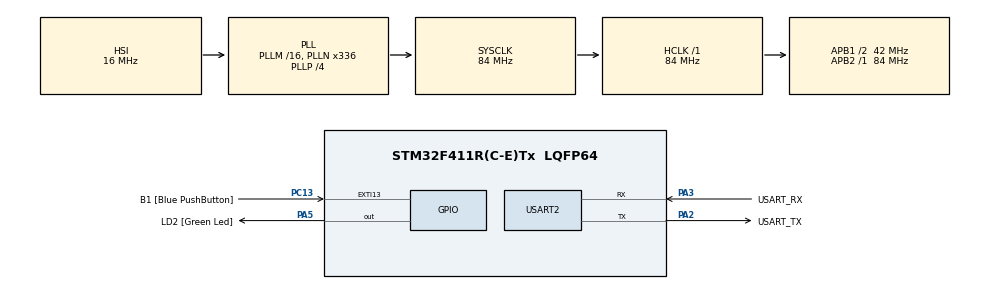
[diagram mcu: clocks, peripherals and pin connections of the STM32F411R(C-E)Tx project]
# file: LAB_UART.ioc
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Mcu.Family=STM32F4
PC15-OSC32_OUT.Mode=LSE-External-Oscillator
RCC.CortexFreq_Value=84000000
PC13-ANTI_TAMP.GPIO_Label=B1 [Blue PushButton]
PA14.GPIO_Label=TCK
PH1\ -\ OSC_OUT.Mode=HSE-External-Clock-Source
RCC.APB1CLKDivider=RCC_HCLK_DIV2
PC14-OSC32_IN.Signal=RCC_OSC32_IN
NVIC.USART2_IRQn=true\:0\:0\:false\:false\:true\:true\:true
RCC.SYSCLKSource=RCC_SYSCLKSOURCE_PLLCLK
ProjectManager.StackSize=0x400
PA13.Signal=SYS_JTMS-SWDIO
PA3.Mode=Asynchronous
PH0\ -\ OSC_IN.Mode=HSE-External-Clock-Source
PH0\ -\ OSC_IN.Signal=RCC_OSC_IN
ProjectManager.TargetToolchain=STM32CubeIDE
RCC.HCLKFreq_Value=84000000
RCC.APB2TimFreq_Value=84000000
PC15-OSC32_OUT.Signal=RCC_OSC32_OUT
RCC.AHBFreq_Value=84000000
PA5.Signal=GPIO_Output
RCC.HSE_VALUE=8000000
PH1\ -\ OSC_OUT.Signal=RCC_OSC_OUT
board=NUCLEO-F411RE
PC13-ANTI_TAMP.Signal=GPXTI13
RCC.VCOOutputFreq_Value=336000000
RCC.APB2Freq_Value=84000000
PC14-OSC32_IN.Mode=LSE-External-Oscillator
PA14.Mode=Serial_Wire
PA13.Mode=Serial_Wire
Mcu.Name=STM32F411R(C-E)Tx
PA2.Signal=USART2_TX
PA13.GPIO_Label=TMS
RCC.FLatency-AdvancedSettings=FLASH_LATENCY_2
RCC.48MHZClocksFreq_Value=84000000
PB3.Signal=SYS_JTDO-SWO
RCC.SYSCLKFreq_VALUE=84000000
Mcu.Package=LQFP64
PA5.GPIO_Label=LD2 [Green Led]
USART2.VirtualMode=VM_ASYNC
PC13-ANTI_TAMP.GPIO_ModeDefaultEXTI=GPIO_MODE_IT_FALLING
PA2.GPIO_Label=USART_TX
PA14.Signal=SYS_JTCK-SWCLK
ProjectManager.HeapSize=0x200
RCC.HSI_VALUE=16000000
RCC.PLLP=RCC_PLLP_DIV4
NVIC.PriorityGroup=NVIC_PRIORITYGROUP_0
RCC.PLLN=336
RCC.APB1TimFreq_Value=84000000
PA2.Mode=Asynchronous
RCC.APB1Freq_Value=42000000
PA3.GPIO_Label=USART_RX
PA3.Signal=USART2_RX
PB3.GPIO_Label=SWO

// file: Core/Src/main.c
/* USER CODE BEGIN Header */
/**
  ******************************************************************************
  * @file           : main.c
  * @brief          : Main program body
  ******************************************************************************
  * @attention
  *
  * <h2><center>&copy; Copyright (c) 2021 STMicroelectronics.
  * All rights reserved.</center></h2>
  *
  * This software component is licensed by ST under BSD 3-Clause license,
  * the "License"; You may not use this file except in compliance with the
  * License. You may obtain a copy of the License at:
  *                        opensource.org/licenses/BSD-3-Clause
  *
  ******************************************************************************
  */
/* USER CODE END Header */
#include "main.h"

/* USER CODE BEGIN Includes */
#include <stdio.h>
#include <string.h>
/* USER CODE END Includes */

/* USER CODE BEGIN PM */
char TxDataBuffer[32] ={ 0 };
char RxDataBuffer[32] ={ 0 };
void pim();
/* USER CODE END PM */

UART_HandleTypeDef huart2;

void SystemClock_Config(void);
static void MX_GPIO_Init(void);
static void MX_USART2_UART_Init(void);

/* USER CODE BEGIN 0 */
enum{
	one=1,two,three,four,five,six,seven,egg,nine,ten
};
uint8_t state=0;
uint8_t Posdata=0;
/* USER CODE END 0 */

int main(void)
{

  /* MCU Configuration--------------------------------------------------------*/

  /* Reset of all peripherals, Initializes the Flash interface and the Systick. */
  HAL_Init();

  /* Configure the system clock */
  SystemClock_Config();

  /* Initialize all configured peripherals */
  MX_GPIO_Init();
  MX_USART2_UART_Init();
  /* USER CODE BEGIN 2 */

uint8_t Posdatapre=0;
state=0;
int Fled=1;
uint8_t stateled=0;
uint32_t timestamp=0;
  /* USER CODE END 2 */

  /* Infinite loop */
  /* USER CODE BEGIN WHILE */
  while (1)
  {
	HAL_UART_Receive_IT(&huart2,  (uint8_t*)RxDataBuffer, 32);
	Posdata=huart2.RxXferSize - huart2.RxXferCount;

	if(Posdatapre!=Posdata){
		sprintf(TxDataBuffer, "\r\nReceivedChar:[%c]", RxDataBuffer[Posdatapre] );
		HAL_UART_Transmit(&huart2, (uint8_t*)TxDataBuffer, strlen(TxDataBuffer),500);
	}

	switch(state){
	case 0:
		pim("\r\nPlease Select Mode:\r\n Mode 0:LED Control \r\n Mode 1:Button Status\n ");
	 state=1;
	break;
	case 1:
		if(RxDataBuffer[Posdatapre]=='0' && Posdatapre!=Posdata ){
			state=4;
		}else if(RxDataBuffer[Posdatapre]=='1'&& Posdatapre!=Posdata ){
			state=2;
		}else if( Posdatapre!=Posdata){
			pim("\r\n\r\nPlease Select Mode!!!!!!!!!!\r\n\r\n ");
			 state=0;
		}

	break;

	case 2:
		 if(HAL_GPIO_ReadPin(GPIOC, GPIO_PIN_13) ==GPIO_PIN_SET){
			pim("\r\n\r\nIn Mode 1 \r\n x: Back \r\n Now Bluestate is : 1  ");
		}else {
			pim("\r\n\r\nIn Mode 1 \r\n x: Back \r\n Now Bluestate is : 0 ");
		}
		 state=3;
	break;
	case 3:
		if(RxDataBuffer[Posdatapre]=='x' && Posdatapre!=Posdata ){
			state=0;
		}else if( Posdatapre!=Posdata){
			pim("\r\n\r\nPlease Select Mode!!!!!!!!!!\r\n\r\n ");
			state=2;
		}
	break;
	case 4:
		pim("\r\n\r\nIn Mode 0 \r\n a: speed up 1 Hz\r\n s: speed Down 1 Hz\r\n d: ON/OFF\r\n x: Back \n ");
		state=5;
	break;
	case 5:
		if(RxDataBuffer[Posdatapre]=='a' && Posdatapre!=Posdata ){
			pim("\r\nSpeed +1\r\n");
			Fled=Fled+1;
			state=6;
		}else if(RxDataBuffer[Posdatapre]=='s' && Posdatapre!=Posdata){
			pim("\r\nSpeed -1\r\n");
			Fled=Fled-1;
			state=6;
		}else if(RxDataBuffer[Posdatapre]=='d' && Posdatapre!=Posdata){
			if(stateled==1){
				stateled=0;
			}else{
				stateled=1;
			}
			state=4;
		}else if(RxDataBuffer[Posdatapre]=='x' && Posdatapre!=Posdata){
			state=0;
		}
		else if( Posdatapre!=Posdata){
			pim("\r\n\r\nPlease Select Mode!!!!!!!!!!\r\n\r\n ");
			state=4;
		}
	break;
	case 6:
	{
		sprintf(TxDataBuffer, "Now F is:[%d]\r\n", Fled);
		pim(TxDataBuffer);
		state=4;
	}
	break;
	}

	if(stateled==1 && Fled >0){
		float T=1.0/(float)Fled;
		if(HAL_GetTick()-timestamp>=T*1000){
			timestamp=HAL_GetTick();
			 HAL_GPIO_TogglePin(LD2_GPIO_Port, LD2_Pin);
		}
	}else{
		HAL_GPIO_WritePin(LD2_GPIO_Port, LD2_Pin, 0);
	}

	Posdatapre=Posdata;
    /* USER CODE END WHILE */

  }
}

void SystemClock_Config(void)
{
  RCC_OscInitTypeDef RCC_OscInitStruct = {0};
  RCC_ClkInitTypeDef RCC_ClkInitStruct = {0};

  /** Configure the main internal regulator output voltage
  */
  __HAL_RCC_PWR_CLK_ENABLE();
  __HAL_PWR_VOLTAGESCALING_CONFIG(PWR_REGULATOR_VOLTAGE_SCALE1);
  /** Initializes the RCC Oscillators according to the specified parameters
  * in the RCC_OscInitTypeDef structure.
  */
  RCC_OscInitStruct.OscillatorType = RCC_OSCILLATORTYPE_HSI;
  RCC_OscInitStruct.HSIState = RCC_HSI_ON;
  RCC_OscInitStruct.HSICalibrationValue = RCC_HSICALIBRATION_DEFAULT;
  RCC_OscInitStruct.PLL.PLLState = RCC_PLL_ON;
  RCC_OscInitStruct.PLL.PLLSource = RCC_PLLSOURCE_HSI;
  RCC_OscInitStruct.PLL.PLLM = 16;
  RCC_OscInitStruct.PLL.PLLN = 336;
  RCC_OscInitStruct.PLL.PLLP = RCC_PLLP_DIV4;
  RCC_OscInitStruct.PLL.PLLQ = 4;
  if (HAL_RCC_OscConfig(&RCC_OscInitStruct) != HAL_OK)
  {
    Error_Handler();
  }
  /** Initializes the CPU, AHB and APB buses clocks
  */
  RCC_ClkInitStruct.ClockType = RCC_CLOCKTYPE_HCLK|RCC_CLOCKTYPE_SYSCLK
                              |RCC_CLOCKTYPE_PCLK1|RCC_CLOCKTYPE_PCLK2;
  RCC_ClkInitStruct.SYSCLKSource = RCC_SYSCLKSOURCE_PLLCLK;
  RCC_ClkInitStruct.AHBCLKDivider = RCC_SYSCLK_DIV1;
  RCC_ClkInitStruct.APB1CLKDivider = RCC_HCLK_DIV2;
  RCC_ClkInitStruct.APB2CLKDivider = RCC_HCLK_DIV1;

  if (HAL_RCC_ClockConfig(&RCC_ClkInitStruct, FLASH_LATENCY_2) != HAL_OK)
  {
    Error_Handler();
  }
}

static void MX_USART2_UART_Init(void)
{

  huart2.Instance = USART2;
  huart2.Init.BaudRate = 115200;
  huart2.Init.WordLength = UART_WORDLENGTH_8B;
  huart2.Init.StopBits = UART_STOPBITS_1;
  huart2.Init.Parity = UART_PARITY_NONE;
  huart2.Init.Mode = UART_MODE_TX_RX;
  huart2.Init.HwFlowCtl = UART_HWCONTROL_NONE;
  huart2.Init.OverSampling = UART_OVERSAMPLING_16;
  if (HAL_UART_Init(&huart2) != HAL_OK)
  {
    Error_Handler();
  }

}

static void MX_GPIO_Init(void)
{
  GPIO_InitTypeDef GPIO_InitStruct = {0};

  /* GPIO Ports Clock Enable */
  __HAL_RCC_GPIOC_CLK_ENABLE();
  __HAL_RCC_GPIOH_CLK_ENABLE();
  __HAL_RCC_GPIOA_CLK_ENABLE();
  __HAL_RCC_GPIOB_CLK_ENABLE();

  /*Configure GPIO pin Output Level */
  HAL_GPIO_WritePin(LD2_GPIO_Port, LD2_Pin, GPIO_PIN_RESET);

  /*Configure GPIO pin : B1_Pin */
  GPIO_InitStruct.Pin = B1_Pin;
  GPIO_InitStruct.Mode = GPIO_MODE_IT_FALLING;
  GPIO_InitStruct.Pull = GPIO_NOPULL;
  HAL_GPIO_Init(B1_GPIO_Port, &GPIO_InitStruct);

  /*Configure GPIO pin : LD2_Pin */
  GPIO_InitStruct.Pin = LD2_Pin;
  GPIO_InitStruct.Mode = GPIO_MODE_OUTPUT_PP;
  GPIO_InitStruct.Pull = GPIO_NOPULL;
  GPIO_InitStruct.Speed = GPIO_SPEED_FREQ_LOW;
  HAL_GPIO_Init(LD2_GPIO_Port, &GPIO_InitStruct);

}

/* USER CODE BEGIN 4 */
void pim(char q[]){

	HAL_UART_Transmit(&huart2, (uint8_t*)q, strlen(q),1000);
}
/* USER CODE END 4 */

void Error_Handler(void)
{
  __disable_irq();
  while (1)
  {
  }
}

/************************ (C) COPYRIGHT STMicroelectronics *****END OF FILE****/
